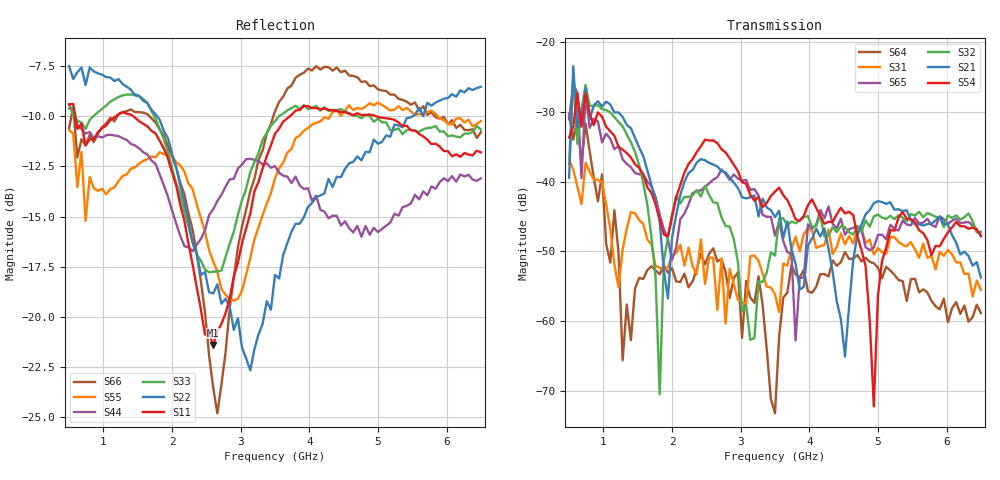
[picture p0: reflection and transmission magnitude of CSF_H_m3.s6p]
!Keysight Technologies,M9804A,MY58100912,A.14.10.03
!Date: Thursday, April 27, 2023 10:28:33
!Correction: S11(C  6-Port  )
!S12(C  6-Port  )
!S13(C  6-Port  )
!S14(C  6-Port  )
!S15(C  6-Port  )
!S16(C  6-Port  )
!S21(C  6-Port  )
!S22(C  6-Port  )
!S23(C  6-Port  )
!S24(C  6-Port  )
!S25(C  6-Port  )
!S26(C  6-Port  )
!S31(C  6-Port  )
!S32(C  6-Port  )
!S33(C  6-Port  )
!S34(C  6-Port  )
!S35(C  6-Port  )
!S36(C  6-Port  )
!S41(C  6-Port  )
!S42(C  6-Port  )
!S43(C  6-Port  )
!S44(C  6-Port  )
!S45(C  6-Port  )
!S46(C  6-Port  )
!S51(C  6-Port  )
!S52(C  6-Port  )
!S53(C  6-Port  )
!S54(C  6-Port  )
!S55(C  6-Port  )
!S56(C  6-Port  )
!S61(C  6-Port  )
!S62(C  6-Port  )
!S63(C  6-Port  )
!S64(C  6-Port  )
!S65(C  6-Port  )
!S66(C  6-Port  )
!S6P File: Measurement: :
# Hz S  RI  R 50
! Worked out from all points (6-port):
!   101 points, 500 MHz to 6.5 GHz, reference 50 ohm
!   strongest paths, dB at 500 MHz, 2 GHz, 3.5 GHz, 5 GHz, 6.5 GHz:
!     S54: -33.7, -45.1, -41.4, -56.4, -47.7
!     S21: -39.4, -48.0, -45.1, -42.8, -53.7
!     S32: -37.4, -44.7, -50.6, -44.7, -47.2
!     S65: -31.1, -51.2, -47.8, -47.7, -47.9
!     S31: -36.8, -50.6, -56.2, -49.5, -55.5
!     S64: -30.3, -52.4, -73.2, -52.3, -58.8
!   lowest |S11| = -21.4 dB at 2.6 GHz (marker M1), VSWR 1.19, Z = 42.4 + j2.14 ohm
!   |S11| at or under -10 dB: 590.1 MHz to 1.178 GHz (587.8 MHz wide, 66.5 % of centre); 1.437 GHz to 3.713 GHz (2.276 GHz wide, 88.4 % of centre); 4.979 GHz to end of sweep
